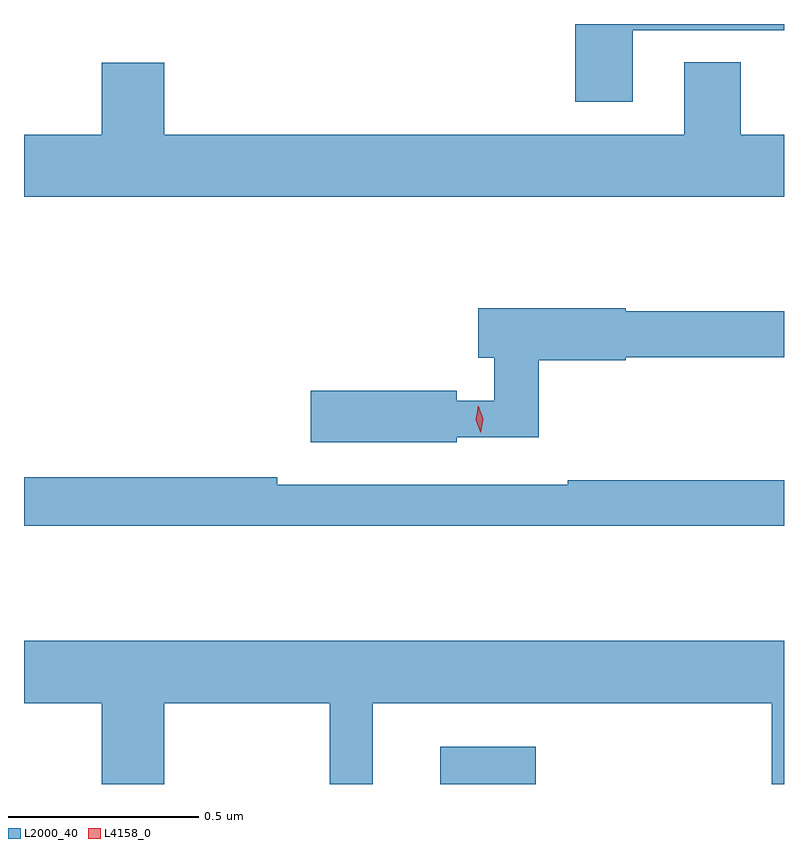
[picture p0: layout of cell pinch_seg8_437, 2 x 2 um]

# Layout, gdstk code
import gdstk
lib = gdstk.Library(unit=1e-6, precision=1e-09)
def R(c, l, rs):  # rectangles x0, y0, x1, y1
    for r in rs: c.add(gdstk.rectangle(r[:2], r[2:], *l))
def P(c, l, *ps):  # polygons
    for p in ps: c.add(gdstk.Polygon(p, *l))
L2000_40 = (2000, 40)
L4158_0 = (4158, 0)

pinch_seg8_437 = lib.new_cell('pinch_seg8_437')
R(pinch_seg8_437, L2000_40, [(273.791,1124.279,274.042,1124.377)])
P(pinch_seg8_437, L2000_40, [(274.297,1126.263),(274.695,1126.263),(274.695,1126.279),(274.145,1126.279),(274.145,1126.074),(274.297,1126.074)],
  [(274.695,1125.988),(274.581,1125.988),(274.581,1126.178),(274.433,1126.178),(274.433,1125.988),(273.064,1125.988),(273.064,1126.177),(272.9,1126.177),(272.9,1125.988),(272.695,1125.988),(272.695,1125.824),(274.695,1125.824)],
  [(273.834,1125.192),(274.049,1125.192),(274.049,1125.394),(274.278,1125.394),(274.278,1125.402),(274.695,1125.402),(274.695,1125.523),(274.278,1125.523),(274.278,1125.531),(273.89,1125.531),(273.89,1125.401),(273.933,1125.401),(273.933,1125.288),(273.834,1125.288),(273.834,1125.314),(273.45,1125.314),(273.45,1125.179),(273.834,1125.179)],
  [(274.695,1125.079),(274.126,1125.079),(274.126,1125.066),(273.362,1125.066),(273.362,1125.086),(272.695,1125.086),(272.695,1124.958),(274.695,1124.958)],
  [(273.064,1124.492),(273.499,1124.492),(273.499,1124.279),(273.613,1124.279),(273.613,1124.492),(274.663,1124.492),(274.663,1124.279),(274.695,1124.279),(274.695,1124.656),(272.695,1124.656),(272.695,1124.492),(272.9,1124.492),(272.9,1124.279),(273.064,1124.279)])
P(pinch_seg8_437, L4158_0, [(273.897,1125.204),(273.897,1125.204),(273.884,1125.238),(273.89,1125.275),(273.89,1125.275),(273.891,1125.275),(273.904,1125.24),(273.897,1125.204)])

lib.write_gds('pinch_seg8_437.gds')
